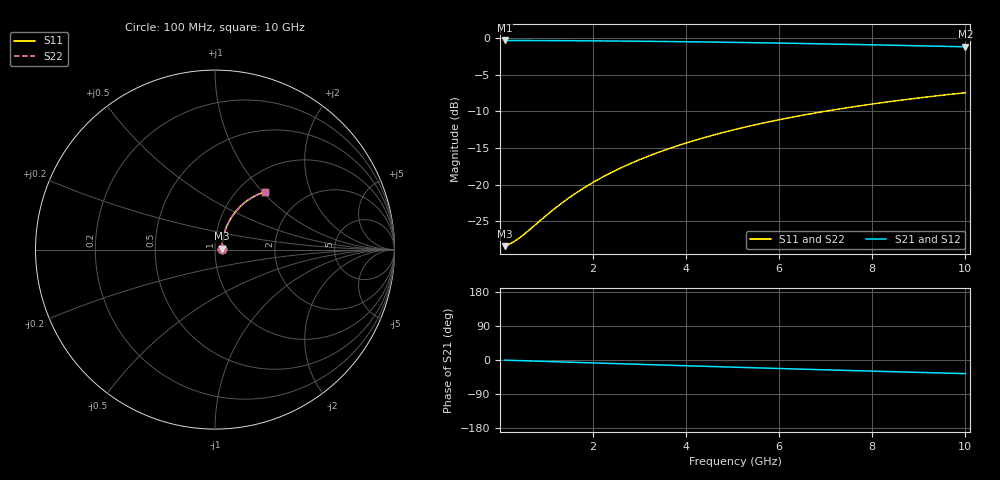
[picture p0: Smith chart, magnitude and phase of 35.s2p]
# Hz S RI R 50.00
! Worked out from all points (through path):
!   100 points, 100 MHz to 10 GHz, reference 50 ohm
!   highest |S21| = -0.33 dB at 100 MHz (marker M1); lowest = -1.2 dB at 10 GHz (marker M2)
!   group delay of S21, straight-line fit = 10 ps
!   lowest |S11| = -28.4 dB at 100 MHz (marker M3), VSWR 1.08, Z = 53.9 + j0.494 ohm
!   |S11| at or under -10 dB: start of sweep to 6.98 GHz
!   |S22| runs from -28.4 to -7.5 dB; largest |S21 - S12| = 0
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1e8  0.0378 0.00458  0.9622 -0.00645  0.9622 -0.00645  0.0378 0.00458
2e8  0.0381 0.00915  0.9619 -0.0129  0.9619 -0.0129  0.0381 0.00915
3e8  0.0385 0.0137  0.9615 -0.0193  0.9615 -0.0193  0.0385 0.0137
4e8  0.0388 0.0183  0.9611 -0.0258  0.9611 -0.0258  0.0388 0.0183
6e8  0.0397 0.0274  0.9603 -0.0386  0.9603 -0.0386  0.0397 0.0274
1e9  0.0419 0.0455  0.9579 -0.0642  0.9579 -0.0642  0.0419 0.0455
1.2e9  0.0434 0.0545  0.9563 -0.077  0.9563 -0.077  0.0434 0.0545
1.5e9  0.0461 0.0678  0.9535 -0.096  0.9535 -0.096  0.0461 0.0678
1.8e9  0.0492 0.0811  0.9502 -0.1149  0.9502 -0.1149  0.0492 0.0811
2.1e9  0.0528 0.0941  0.9463 -0.1336  0.9463 -0.1336  0.0528 0.0941
2.5e9  0.0585 0.1113  0.9404 -0.1582  0.9404 -0.1582  0.0585 0.1113
2.9e9  0.0649 0.128  0.9335 -0.1825  0.9335 -0.1825  0.0649 0.128
3.4e9  0.0742 0.1483  0.9237 -0.2122  0.9237 -0.2122  0.0742 0.1483
3.8e9  0.0825 0.1639  0.9148 -0.2354  0.9148 -0.2354  0.0825 0.1639
4.2e9  0.0915 0.179  0.9052 -0.258  0.9052 -0.258  0.0915 0.179
4.6e9  0.1013 0.1935  0.8949 -0.2801  0.8949 -0.2801  0.1013 0.1935
5.1e9  0.1143 0.2108  0.8809 -0.3068  0.8809 -0.3068  0.1143 0.2108
5.9e9  0.1371 0.2362  0.8565 -0.3475  0.8565 -0.3475  0.1371 0.2362
6.7e9  0.1619 0.2589  0.8299 -0.3853  0.8299 -0.3853  0.1619 0.2589
7.5e9  0.1882 0.2786  0.8015 -0.4203  0.8015 -0.4203  0.1882 0.2786
8.4e9  0.2191 0.2971  0.7678 -0.4562  0.7678 -0.4562  0.2191 0.2971
1e10  0.2762 0.321  0.7051 -0.511  0.7051 -0.511  0.2762 0.321
